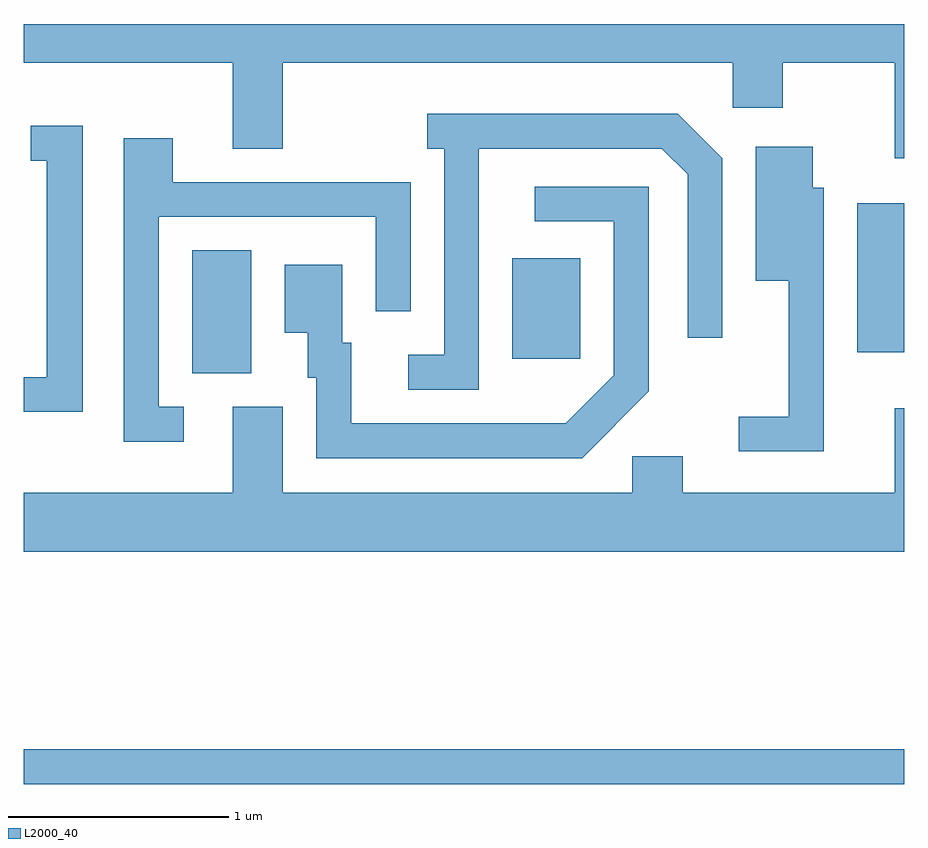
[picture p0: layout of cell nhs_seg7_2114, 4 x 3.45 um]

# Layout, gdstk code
import gdstk
lib = gdstk.Library(unit=1e-6, precision=1e-09)
def R(c, l, rs):  # rectangles x0, y0, x1, y1
    for r in rs: c.add(gdstk.rectangle(r[:2], r[2:], *l))
def P(c, l, *ps):  # polygons
    for p in ps: c.add(gdstk.Polygon(p, *l))
L2000_40 = (2000, 40)

nhs_seg7_2114 = lib.new_cell('nhs_seg7_2114')
R(nhs_seg7_2114, L2000_40, [(249.611,1728.801,253.611,1728.959), (250.376,1730.666,250.644,1731.224), (251.831,1730.731,252.139,1731.189), (253.396,1730.761,253.611,1731.439)])
P(nhs_seg7_2114, L2000_40, [(253.611,1732.252),(249.611,1732.252),(249.611,1732.076),(250.561,1732.076),(250.561,1731.686),(250.789,1731.686),(250.789,1732.076),(252.831,1732.076),(252.831,1731.871),(253.059,1731.871),(253.059,1732.076),(253.566,1732.076),(253.566,1731.643),(253.611,1731.643)],
  [(251.679,1731.686),(252.509,1731.686),(252.626,1731.569),(252.626,1730.828),(252.784,1730.828),(252.784,1731.642),(252.582,1731.844),(251.443,1731.844),(251.443,1731.686),(251.521,1731.686),(251.521,1730.749),(251.358,1730.749),(251.358,1730.591),(251.679,1730.591)],
  [(249.879,1731.789),(249.643,1731.789),(249.643,1731.631),(249.716,1731.631),(249.716,1730.649),(249.611,1730.649),(249.611,1730.491),(249.879,1730.491)],
  [(250.338,1730.514),(250.224,1730.514),(250.224,1731.376),(251.211,1731.376),(251.211,1730.948),(251.369,1730.948),(251.369,1731.534),(250.289,1731.534),(250.289,1731.734),(250.066,1731.734),(250.066,1730.356),(250.338,1730.356)],
  [(253.244,1731.509),(253.194,1731.509),(253.194,1731.694),(252.936,1731.694),(252.936,1731.086),(253.086,1731.086),(253.086,1730.469),(252.858,1730.469),(252.858,1730.311),(253.244,1730.311)],
  [(252.449,1730.584),(252.449,1731.514),(251.933,1731.514),(251.933,1731.356),(252.291,1731.356),(252.291,1730.657),(252.074,1730.439),(251.099,1730.439),(251.099,1730.804),(251.059,1730.804),(251.059,1731.159),(250.796,1731.159),(250.796,1730.851),(250.901,1730.851),(250.901,1730.646),(250.941,1730.646),(250.941,1730.281),(252.147,1730.281)],
  [(253.611,1730.508),(253.566,1730.508),(253.566,1730.124),(252.604,1730.124),(252.604,1730.289),(252.376,1730.289),(252.376,1730.124),(250.789,1730.124),(250.789,1730.514),(250.561,1730.514),(250.561,1730.124),(249.611,1730.124),(249.611,1729.856),(253.611,1729.856)])

lib.write_gds('nhs_seg7_2114.gds')
